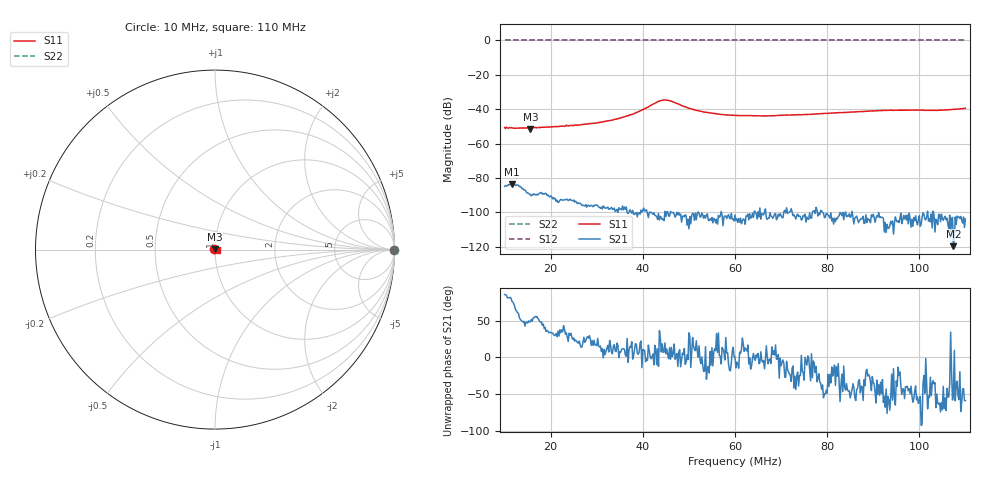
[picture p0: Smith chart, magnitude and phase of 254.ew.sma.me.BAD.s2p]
! Anritsu VNA Master:  Model: MS2036C/10/77
! SN:  1601066
! /card0/usr/254.ew.sma.me.s2p
! Existing Calibration Information:
! TYPE:  Current Settings,  Active Cal Settings
! TIME:  12/20/2017 12:49:54 PM,  12/20/2017 12:32:09 PM
! INTERNAL TEMP:  44.5 C,  45.8 C
! # POINTS:  501,  501
! START FREQ:  10.000 MHz,  10.000 MHz
! STOP FREQ:  110.000 MHz,  110.000 MHz
! SOURCE POWER:  High,  High
! IFBW:  100 Hz,  100 Hz
! AVG FACTOR:  1 ,  1
! REF PLANE 1:  0 mm,  0 mm
! REF PLANE 2:  0 mm,  0 mm
! CAL TYPE:  Full S11,  Full S11
! CAL METHOD:  SOLT,  SOLT
! CAL LINE TYPE:  Coax,  Coax
! DUT PORT 1:  N-Conn(F),  N-Conn(F)
! DUT PORT 2:  K-Conn(F),  K-Conn(F)
! CAL STATUS:  OK: Accuracy High,  --
# GHZ S DB R 50.0
! FREQ.GHZ  S11DB  S11A  S21DB  S21A  S12DB  S12A  S22DB  S22A
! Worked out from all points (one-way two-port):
!   501 points, 10 MHz to 110 MHz, reference 50 ohm
!   highest |S21| = -83.56 dB at 11.6 MHz (marker M1); lowest = -119.7 dB at 107.4 MHz (marker M2)
!   lowest |S11| = -51.4 dB at 15.6 MHz (marker M3), VSWR 1.01, Z = 49.8 + j0.186 ohm
!   |S11| at or under -10 dB: start of sweep to end of sweep
!   |S22| runs from 0.0 to 0.0 dB; largest |S21 - S12| = 1
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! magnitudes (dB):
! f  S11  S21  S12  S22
! 10 MHz  -50.6  -84.9  0.0  0.0
! 11.6 MHz  -50.8  -83.6  0.0  0.0
! 15.6 MHz  -51.4  -89.9  0.0  0.0
! 21.4 MHz  -50.2  -93.0  0.0  0.0
! 26.8 MHz  -48.9  -96.0  0.0  0.0
! 30.4 MHz  -47.7  -96.9  0.0  0.0
! 35.2 MHz  -45.1  -98.1  0.0  0.0
! 38.4 MHz  -42.2  -100.4  0.0  0.0
! 43.4 MHz  -35.4  -100.7  0.0  0.0
! 44.4 MHz  -34.7  -104.1  0.0  0.0
! 45.2 MHz  -34.8  -99.7  0.0  0.0
! 46.4 MHz  -35.6  -100.2  0.0  0.0
! 50 MHz  -39.4  -109.7  0.0  0.0
! 52.2 MHz  -41.1  -100.6  0.0  0.0
! 56.8 MHz  -43.0  -102.2  0.0  0.0
! 60 MHz  -43.6  -101.6  0.0  0.0
! 67.4 MHz  -43.9  -103.4  0.0  0.0
! 76.8 MHz  -43.0  -100.0  0.0  0.0
! 93.4 MHz  -40.7  -109.3  0.0  0.0
! 103.8 MHz  -40.7  -105.1  0.0  0.0
! 107.4 MHz  -40.1  -119.7  0.0  0.0
! 110 MHz  -39.5  -103.9  0.0  0.0
